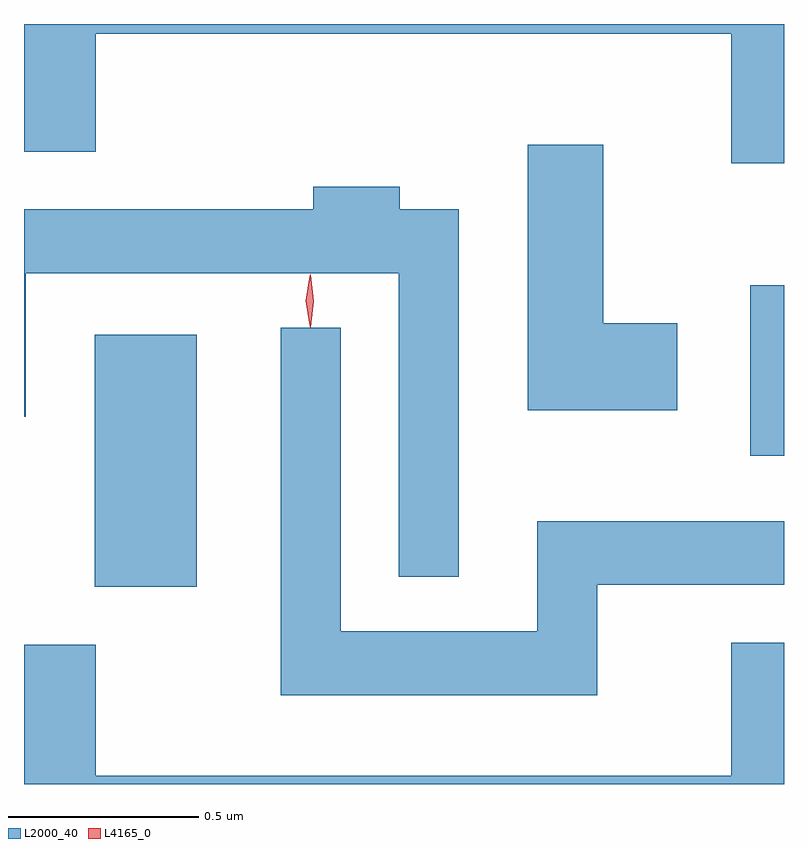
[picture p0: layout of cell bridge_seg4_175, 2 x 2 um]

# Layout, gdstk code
import gdstk
lib = gdstk.Library(unit=1e-6, precision=1e-09)
def R(c, l, rs):  # rectangles x0, y0, x1, y1
    for r in rs: c.add(gdstk.rectangle(r[:2], r[2:], *l))
def P(c, l, *ps):  # polygons
    for p in ps: c.add(gdstk.Polygon(p, *l))
L2000_40 = (2000, 40)
L4165_0 = (4165, 0)

bridge_seg4_175 = lib.new_cell('bridge_seg4_175')
R(bridge_seg4_175, L2000_40, [(951.196,1306.601,951.464,1307.264), (952.921,1306.946,953.01,1307.394)])
P(bridge_seg4_175, L2000_40, [(953.01,1308.082),(951.01,1308.082),(951.01,1307.746),(951.199,1307.746),(951.199,1308.056),(952.871,1308.056),(952.871,1307.716),(953.01,1307.716)],
  [(952.729,1307.294),(952.534,1307.294),(952.534,1307.764),(952.336,1307.764),(952.336,1307.066),(952.729,1307.066)],
  [(952.154,1307.594),(951.999,1307.594),(951.999,1307.654),(951.771,1307.654),(951.771,1307.594),(951.01,1307.594),(951.01,1307.048),(951.014,1307.048),(951.014,1307.426),(951.996,1307.426),(951.996,1306.628),(952.154,1306.628)],
  [(952.519,1306.606),(953.01,1306.606),(953.01,1306.774),(952.361,1306.774),(952.361,1306.484),(951.844,1306.484),(951.844,1307.283),(951.686,1307.283),(951.686,1306.316),(952.519,1306.316)],
  [(953.01,1306.454),(952.871,1306.454),(952.871,1306.104),(951.199,1306.104),(951.199,1306.449),(951.01,1306.449),(951.01,1306.082),(953.01,1306.082)])
P(bridge_seg4_175, L4165_0, [(951.763,1307.284),(951.763,1307.284),(951.753,1307.353),(951.763,1307.422),(951.763,1307.423),(951.764,1307.422),(951.773,1307.353),(951.764,1307.284)],
  [(951.762,1307.287),(951.762,1307.288),(951.752,1307.354),(951.762,1307.42),(951.762,1307.42),(951.763,1307.42),(951.772,1307.354),(951.763,1307.288)])

lib.write_gds('bridge_seg4_175.gds')
